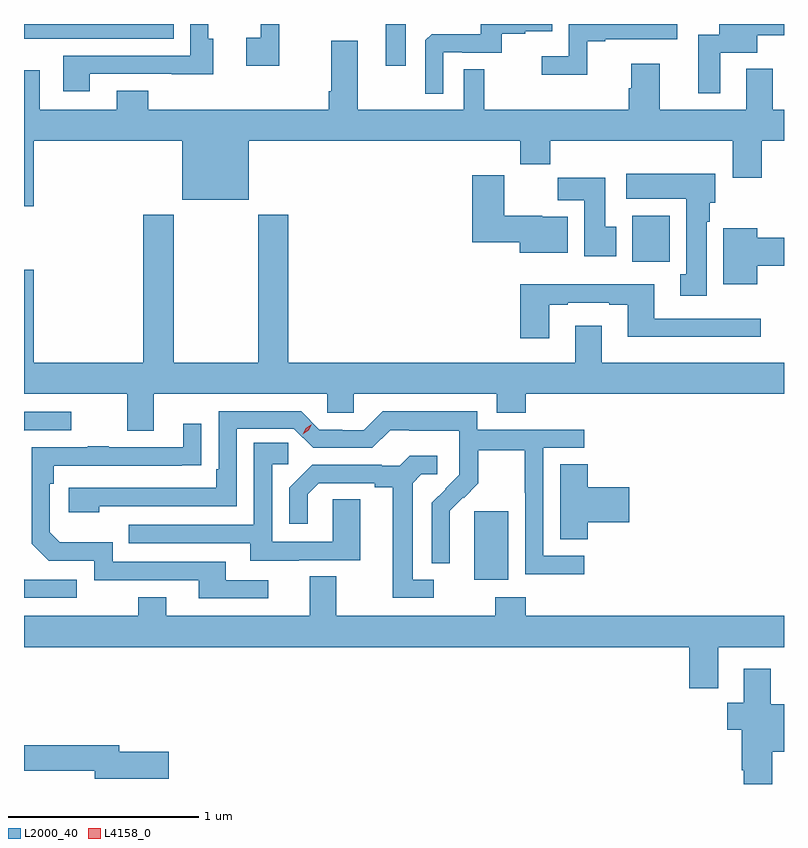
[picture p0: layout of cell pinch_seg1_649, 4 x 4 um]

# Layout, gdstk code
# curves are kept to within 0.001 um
import gdstk
lib = gdstk.Library(unit=1e-6, precision=1e-09)
def R(c, l, rs):  # rectangles x0, y0, x1, y1
    for r in rs: c.add(gdstk.rectangle(r[:2], r[2:], *l))
def P(c, l, *ps):  # polygons
    for p in ps: c.add(gdstk.Polygon(p, *l))
L2000_40 = (2000, 40)
L4158_0 = (4158, 0)

pinch_seg1_649 = lib.new_cell('pinch_seg1_649')
R(pinch_seg1_649, L2000_40, [(770.738,580.058,770.917,580.419), (771.569,581.732,771.766,581.974), (770.273,582.762,770.377,582.983)])
P(pinch_seg1_649, L2000_40, [(770.574,582.834),(770.674,582.834),(770.674,582.831),(770.882,582.831),(770.882,582.933),(771.005,582.933),(771.005,582.944),(771.149,582.944),(771.149,582.983),(770.772,582.983),(770.772,582.929),(770.513,582.929),(770.481,582.897),(770.481,582.617),(770.574,582.617)],
  [(768.479,582.906),(769.157,582.906),(769.157,582.983),(768.368,582.983),(768.368,582.905),(768.479,582.905)],
  [(768.715,582.72),(769.145,582.72),(769.145,582.719),(769.363,582.719),(769.363,582.906),(769.338,582.906),(769.338,582.983),(769.242,582.983),(769.242,582.816),(768.575,582.816),(768.575,582.63),(768.715,582.63)],
  [(772.033,582.833),(772.228,582.833),(772.228,582.925),(772.368,582.925),(772.368,582.983),(772.026,582.983),(772.026,582.927),(771.917,582.927),(771.917,582.618),(772.033,582.618)],
  [(771.333,582.891),(771.427,582.891),(771.427,582.903),(771.807,582.903),(771.807,582.983),(771.234,582.983),(771.234,582.814),(771.093,582.814),(771.093,582.716),(771.333,582.716)],
  [(769.711,582.983),(769.614,582.983),(769.614,582.91),(769.539,582.91),(769.539,582.762),(769.711,582.762)],
  [(768.419,582.368),(769.202,582.368),(769.202,582.059),(769.552,582.059),(769.552,582.368),(770.981,582.368),(770.981,582.244),(771.137,582.244),(771.137,582.368),(772.097,582.368),(772.097,582.174),(772.25,582.174),(772.25,582.368),(772.368,582.368),(772.368,582.532),(772.309,582.532),(772.309,582.748),(772.169,582.748),(772.169,582.532),(771.715,582.532),(771.715,582.775),(771.563,582.775),(771.563,582.645),(771.551,582.645),(771.551,582.532),(770.791,582.532),(770.791,582.746),(770.682,582.746),(770.682,582.532),(770.125,582.532),(770.125,582.895),(769.985,582.895),(769.985,582.628),(769.973,582.628),(769.973,582.532),(769.021,582.532),(769.021,582.631),(768.857,582.631),(768.857,582.532),(768.451,582.532),(768.451,582.739),(768.368,582.739),(768.368,582.024),(768.419,582.024)],
  [(771.961,581.942),(771.976,581.942),(771.976,582.042),(772.006,582.042),(772.006,582.196),(771.537,582.196),(771.537,582.062),(771.854,582.062),(771.854,581.666),(771.821,581.666),(771.821,581.553),(771.961,581.553)],
  [(771.229,581.968),(771.096,581.968),(771.096,581.974),(770.896,581.974),(770.896,582.187),(770.726,582.187),(770.726,581.834),(770.978,581.834),(770.978,581.78),(771.229,581.78)],
  [(771.484,581.916),(771.427,581.916),(771.427,582.175),(771.178,582.175),(771.178,582.056),(771.317,582.056),(771.317,581.76),(771.484,581.76)],
  [(769.051,581.036),(769.965,581.036),(769.965,580.938),(770.103,580.938),(770.103,581.036),(770.855,581.036),(770.855,580.937),(771.008,580.937),(771.008,581.036),(772.368,581.036),(772.368,581.2),(771.409,581.2),(771.409,581.395),(771.269,581.395),(771.269,581.2),(769.76,581.2),(769.76,581.98),(769.6,581.98),(769.6,581.2),(769.155,581.2),(769.155,581.98),(768.995,581.98),(768.995,581.2),(768.419,581.2),(768.419,581.689),(768.368,581.689),(768.368,581.036),(768.911,581.036),(768.911,580.842),(769.051,580.842)],
  [(772.228,581.711),(772.368,581.711),(772.368,581.858),(772.228,581.858),(772.228,581.908),(772.049,581.908),(772.049,581.612),(772.228,581.612)],
  [(771.133,581.505),(771.229,581.505),(771.229,581.517),(771.449,581.517),(771.449,581.505),(771.545,581.505),(771.545,581.336),(772.246,581.336),(772.246,581.433),(771.685,581.433),(771.685,581.614),(770.981,581.614),(770.981,581.328),(771.133,581.328)],
  [(771.316,580.185),(771.102,580.185),(771.102,580.752),(771.316,580.752),(771.316,580.848),(770.754,580.848),(770.754,580.945),(770.257,580.945),(770.157,580.845),(770.042,580.845),(770.042,580.848),(769.923,580.848),(769.827,580.944),(769.392,580.944),(769.392,580.639),(769.379,580.639),(769.379,580.542),(768.603,580.542),(768.603,580.412),(768.764,580.412),(768.764,580.446),(769.488,580.446),(769.488,580.854),(769.789,580.854),(769.891,580.752),(770.202,580.752),(770.295,580.845),(770.395,580.845),(770.395,580.841),(770.658,580.841),(770.658,580.707),(770.66,580.707),(770.66,580.61),(770.514,580.462),(770.514,580.144),(770.61,580.144),(770.609,580.421),(770.679,580.491),(770.682,580.488),(770.759,580.565),(770.759,580.74),(771.004,580.74),(771.004,580.516),(771.006,580.516),(771.006,580.087),(771.316,580.087)],
  [(768.372,580.845),(768.616,580.845),(768.616,580.941),(768.368,580.941),(768.368,580.841)],
  [(769.654,580.056),(769.429,580.056),(769.429,580.152),(768.834,580.152),(768.834,580.255),(768.557,580.255),(768.504,580.308),(768.504,580.562),(768.524,580.562),(768.524,580.659),(769.301,580.66),(769.301,580.879),(769.205,580.879),(769.205,580.755),(768.815,580.755),(768.815,580.76),(768.703,580.76),(768.703,580.755),(768.408,580.755),(768.408,580.248),(768.498,580.158),(768.738,580.158),(768.738,580.056),(769.289,580.056),(769.289,579.96),(769.654,579.96)],
  [(769.813,580.161),(770.137,580.161),(770.137,580.481),(769.992,580.481),(769.992,580.257),(769.674,580.257),(769.674,580.665),(769.759,580.665),(769.759,580.78),(769.578,580.78),(769.578,580.347),(768.919,580.347),(768.919,580.251),(769.559,580.251),(769.559,580.157),(769.813,580.157)],
  [(770.524,580.059),(770.413,580.059),(770.413,580.567),(770.46,580.614),(770.542,580.614),(770.542,580.711),(770.398,580.711),(770.346,580.659),(770.252,580.659),(770.252,580.662),(769.884,580.662),(769.764,580.542),(769.764,580.353),(769.861,580.353),(769.861,580.509),(769.918,580.566),(770.213,580.566),(770.213,580.544),(770.309,580.544),(770.309,579.963),(770.524,579.963)],
  [(771.335,580.361),(771.553,580.361),(771.553,580.544),(771.335,580.544),(771.335,580.667),(771.191,580.667),(771.191,580.27),(771.335,580.27)],
  [(772.021,579.704),(772.368,579.704),(772.368,579.868),(771.008,579.868),(771.008,579.967),(770.848,579.967),(770.848,579.868),(770.011,579.868),(770.011,580.076),(769.871,580.076),(769.871,579.868),(769.117,579.868),(769.117,579.967),(768.97,579.967),(768.97,579.868),(768.368,579.868),(768.368,579.704),(771.869,579.704),(771.869,579.486),(772.021,579.486)],
  [(768.646,580.059),(768.369,580.059),(768.368,580.06),(768.368,579.963),(768.646,579.963)],
  [(772.305,579.152),(772.368,579.152),(772.368,579.403),(772.297,579.403),(772.297,579.589),(772.157,579.589),(772.157,579.411),(772.07,579.411),(772.07,579.269),(772.145,579.269),(772.145,579.056),(772.157,579.056),(772.157,578.983),(772.305,578.983)],
  [(769.129,579.152),(768.868,579.152),(768.868,579.188),(768.368,579.188),(768.368,579.052),(768.74,579.052),(768.74,579.01),(769.129,579.01)])
P(pinch_seg1_649, L4158_0, [(769.835,580.823),(769.835,580.823),(769.851,580.856),(769.882,580.877),(769.882,580.877),(769.882,580.877),(769.866,580.844),(769.835,580.823)])

lib.write_gds('pinch_seg1_649.gds')
